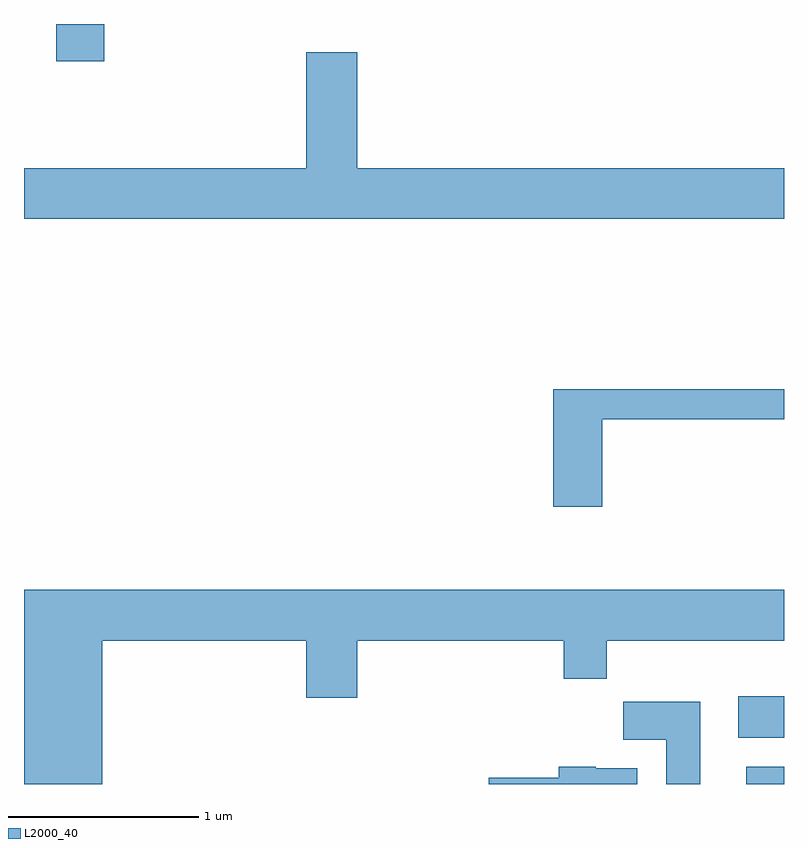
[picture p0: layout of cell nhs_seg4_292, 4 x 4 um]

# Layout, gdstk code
import gdstk
lib = gdstk.Library(unit=1e-6, precision=1e-09)
def R(c, l, rs):  # rectangles x0, y0, x1, y1
    for r in rs: c.add(gdstk.rectangle(r[:2], r[2:], *l))
def P(c, l, *ps):  # polygons
    for p in ps: c.add(gdstk.Polygon(p, *l))
L2000_40 = (2000, 40)

nhs_seg4_292 = lib.new_cell('nhs_seg4_292')
R(nhs_seg4_292, L2000_40, [(197.411,1293.982,197.611,1294.074), (197.371,1294.226,197.611,1294.444), (193.781,1297.786,194.034,1297.982)])
P(nhs_seg4_292, L2000_40, [(197.611,1297.224),(195.364,1297.224),(195.364,1297.834),(195.096,1297.834),(195.096,1297.224),(193.611,1297.224),(193.611,1296.956),(197.611,1296.956)],
  [(196.654,1295.901),(197.611,1295.901),(197.611,1296.059),(196.396,1296.059),(196.396,1295.441),(196.654,1295.441)],
  [(194.024,1294.736),(195.096,1294.736),(195.096,1294.436),(195.364,1294.436),(195.364,1294.736),(196.451,1294.736),(196.451,1294.536),(196.679,1294.536),(196.679,1294.736),(197.611,1294.736),(197.611,1295.004),(193.611,1295.004),(193.611,1293.982),(194.024,1293.982)],
  [(197.169,1294.414),(196.766,1294.414),(196.766,1294.216),(196.991,1294.216),(196.991,1293.982),(197.169,1293.982)],
  [(196.839,1294.064),(196.62,1294.064),(196.62,1294.074),(196.426,1294.074),(196.426,1294.014),(196.056,1294.014),(196.056,1293.982),(196.839,1293.982)])

lib.write_gds('nhs_seg4_292.gds')
